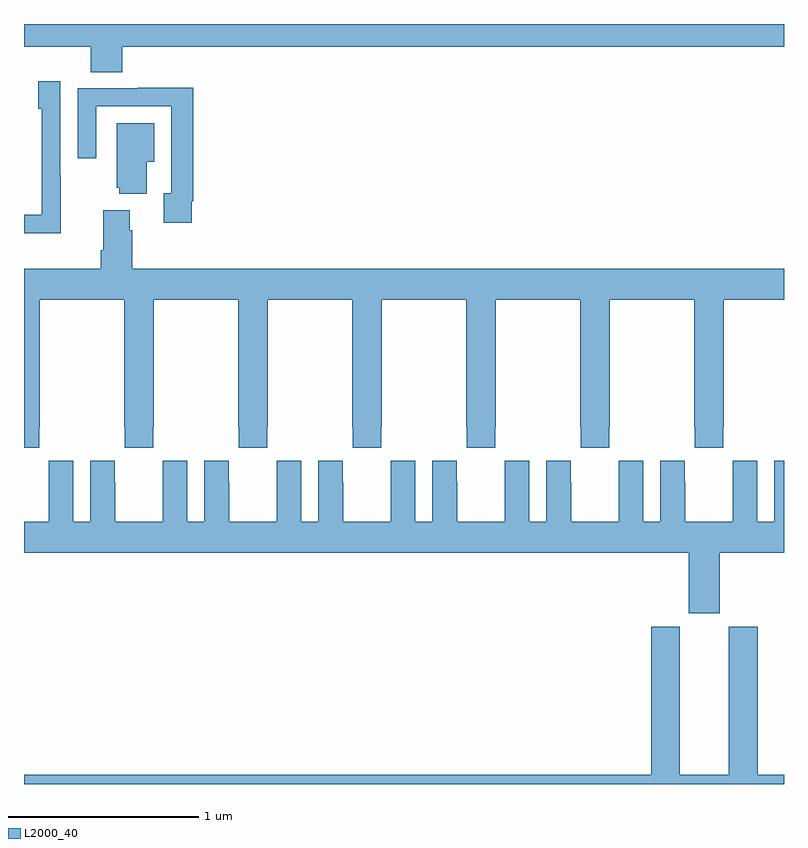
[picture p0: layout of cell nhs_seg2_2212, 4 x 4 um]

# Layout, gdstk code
import gdstk
lib = gdstk.Library(unit=1e-6, precision=1e-09)
def P(c, l, *ps):  # polygons
    for p in ps: c.add(gdstk.Polygon(p, *l))
L2000_40 = (2000, 40)

nhs_seg2_2212 = lib.new_cell('nhs_seg2_2212')
P(nhs_seg2_2212, L2000_40, [(227.516,603.68),(231,603.68),(231,603.8),(227,603.8),(227,603.68),(227.351,603.68),(227.351,603.547),(227.516,603.547)],
  [(227.193,603.005),(227.19,603.005),(227.19,603.499),(227.075,603.499),(227.075,603.354),(227.094,603.354),(227.094,602.796),(227,602.796),(227,602.699),(227.193,602.699)],
  [(227.884,602.866),(227.891,602.866),(227.891,603.464),(227.599,603.464),(227.599,603.462),(227.283,603.462),(227.283,603.093),(227.379,603.093),(227.379,603.366),(227.775,603.366),(227.775,602.91),(227.735,602.91),(227.735,602.754),(227.884,602.754)],
  [(227.647,603.074),(227.686,603.074),(227.686,603.277),(227.489,603.277),(227.489,602.937),(227.501,602.937),(227.501,602.906),(227.647,602.906)],
  [(227.079,601.681),(227.082,601.681),(227.082,602.348),(227.527,602.348),(227.527,601.681),(227.529,601.681),(227.529,601.569),(227.679,601.569),(227.679,601.681),(227.682,601.681),(227.682,602.348),(228.127,602.348),(228.127,601.681),(228.129,601.681),(228.129,601.569),(228.279,601.569),(228.279,601.681),(228.282,601.681),(228.282,602.348),(228.727,602.348),(228.727,601.681),(228.729,601.681),(228.729,601.569),(228.879,601.569),(228.879,601.681),(228.882,601.681),(228.882,602.348),(229.327,602.348),(229.327,601.681),(229.329,601.681),(229.329,601.569),(229.479,601.569),(229.479,601.681),(229.482,601.681),(229.482,602.348),(229.927,602.348),(229.927,601.681),(229.929,601.681),(229.929,601.569),(230.079,601.569),(230.079,601.681),(230.082,601.681),(230.082,602.348),(230.527,602.348),(230.527,601.681),(230.529,601.681),(230.529,601.569),(230.679,601.569),(230.679,601.681),(230.682,601.681),(230.682,602.348),(231,602.348),(231,602.512),(227.57,602.512),(227.57,602.714),(227.557,602.714),(227.557,602.821),(227.417,602.821),(227.417,602.608),(227.405,602.608),(227.405,602.512),(227,602.512),(227,601.569),(227.079,601.569)],
  [(230.662,601.016),(231,601.016),(231,601.501),(230.948,601.501),(230.948,601.18),(230.86,601.18),(230.86,601.501),(230.73,601.501),(230.73,601.388),(230.729,601.388),(230.729,601.18),(230.479,601.18),(230.479,601.388),(230.478,601.388),(230.478,601.501),(230.348,601.501),(230.348,601.18),(230.26,601.18),(230.26,601.501),(230.13,601.501),(230.13,601.388),(230.129,601.388),(230.129,601.18),(229.879,601.18),(229.879,601.388),(229.878,601.388),(229.878,601.501),(229.748,601.501),(229.748,601.18),(229.66,601.18),(229.66,601.501),(229.53,601.501),(229.53,601.388),(229.529,601.388),(229.529,601.18),(229.279,601.18),(229.279,601.388),(229.278,601.388),(229.278,601.501),(229.148,601.501),(229.148,601.18),(229.06,601.18),(229.06,601.501),(228.93,601.501),(228.93,601.388),(228.929,601.388),(228.929,601.18),(228.679,601.18),(228.679,601.388),(228.678,601.388),(228.678,601.501),(228.548,601.501),(228.548,601.18),(228.46,601.18),(228.46,601.501),(228.33,601.501),(228.33,601.388),(228.329,601.388),(228.329,601.18),(228.079,601.18),(228.079,601.388),(228.078,601.388),(228.078,601.501),(227.948,601.501),(227.948,601.18),(227.86,601.18),(227.86,601.501),(227.73,601.501),(227.73,601.388),(227.729,601.388),(227.729,601.18),(227.479,601.18),(227.479,601.388),(227.478,601.388),(227.478,601.501),(227.348,601.501),(227.348,601.18),(227.26,601.18),(227.26,601.501),(227.13,601.501),(227.13,601.388),(227.129,601.388),(227.129,601.18),(227,601.18),(227,601.016),(230.498,601.016),(230.498,600.699),(230.662,600.699)],
  [(231,599.848),(230.861,599.848),(230.861,600.627),(230.708,600.627),(230.708,599.848),(230.452,599.848),(230.452,600.627),(230.3,600.627),(230.3,599.848),(227,599.848),(227,599.8),(231,599.8)])

lib.write_gds('nhs_seg2_2212.gds')
